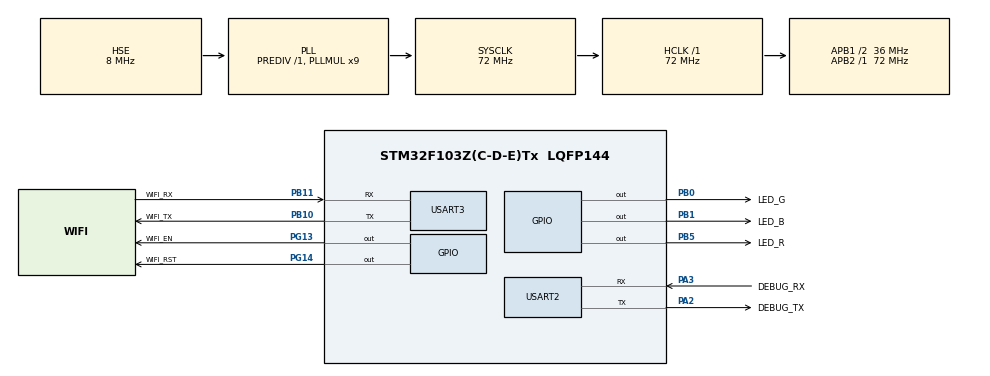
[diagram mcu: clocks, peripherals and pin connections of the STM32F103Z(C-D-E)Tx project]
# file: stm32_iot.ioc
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Dma.Request0=USART2_RX
Dma.Request1=USART2_TX
Dma.Request2=USART3_RX
Dma.Request3=USART3_TX
Dma.USART2_RX.0.Direction=DMA_PERIPH_TO_MEMORY
Dma.USART2_RX.0.Instance=DMA1_Channel6
Dma.USART2_RX.0.MemDataAlignment=DMA_MDATAALIGN_BYTE
Dma.USART2_RX.0.MemInc=DMA_MINC_ENABLE
Dma.USART2_RX.0.Mode=DMA_NORMAL
Dma.USART2_RX.0.PeriphDataAlignment=DMA_PDATAALIGN_BYTE
Dma.USART2_RX.0.PeriphInc=DMA_PINC_DISABLE
Dma.USART2_RX.0.Priority=DMA_PRIORITY_LOW
Dma.USART2_TX.1.Direction=DMA_MEMORY_TO_PERIPH
Dma.USART2_TX.1.Instance=DMA1_Channel7
Dma.USART2_TX.1.MemDataAlignment=DMA_MDATAALIGN_BYTE
Dma.USART2_TX.1.MemInc=DMA_MINC_ENABLE
Dma.USART2_TX.1.Mode=DMA_NORMAL
Dma.USART2_TX.1.PeriphDataAlignment=DMA_PDATAALIGN_BYTE
Dma.USART2_TX.1.PeriphInc=DMA_PINC_DISABLE
Dma.USART2_TX.1.Priority=DMA_PRIORITY_LOW
Dma.USART3_RX.2.Direction=DMA_PERIPH_TO_MEMORY
Dma.USART3_RX.2.Instance=DMA1_Channel3
Dma.USART3_RX.2.MemDataAlignment=DMA_MDATAALIGN_BYTE
Dma.USART3_RX.2.MemInc=DMA_MINC_ENABLE
Dma.USART3_RX.2.Mode=DMA_NORMAL
Dma.USART3_RX.2.PeriphDataAlignment=DMA_PDATAALIGN_BYTE
Dma.USART3_RX.2.PeriphInc=DMA_PINC_DISABLE
Dma.USART3_RX.2.Priority=DMA_PRIORITY_VERY_HIGH
Dma.USART3_TX.3.Direction=DMA_MEMORY_TO_PERIPH
Dma.USART3_TX.3.Instance=DMA1_Channel2
Dma.USART3_TX.3.MemDataAlignment=DMA_MDATAALIGN_BYTE
Dma.USART3_TX.3.MemInc=DMA_MINC_ENABLE
Dma.USART3_TX.3.Mode=DMA_NORMAL
Dma.USART3_TX.3.PeriphDataAlignment=DMA_PDATAALIGN_BYTE
Dma.USART3_TX.3.PeriphInc=DMA_PINC_DISABLE
Dma.USART3_TX.3.Priority=DMA_PRIORITY_LOW
FREERTOS.INCLUDE_eTaskGetState=1
FREERTOS.INCLUDE_pcTaskGetTaskName=1
FREERTOS.INCLUDE_uxTaskGetStackHighWaterMark=1
FREERTOS.INCLUDE_vTaskCleanUpResources=1
FREERTOS.INCLUDE_vTaskDelayUntil=1
FREERTOS.INCLUDE_xEventGroupSetBitFromISR=1
FREERTOS.INCLUDE_xQueueGetMutexHolder=1
FREERTOS.INCLUDE_xSemaphoreGetMutexHolder=1
FREERTOS.INCLUDE_xTaskAbortDelay=1
FREERTOS.INCLUDE_xTaskGetCurrentTaskHandle=1
FREERTOS.INCLUDE_xTaskGetHandle=1
FREERTOS.INCLUDE_xTimerPendFunctionCall=1
FREERTOS.Tasks01=defaultTask,0,128,StartDefaultTask,Default,NULL,Dynamic,NULL,NULL
FREERTOS.configMAX_PRIORITIES=8
FREERTOS.configRECORD_STACK_HIGH_ADDRESS=1
FREERTOS.configTOTAL_HEAP_SIZE=30960
FREERTOS.configUSE_APPLICATION_TASK_TAG=1
FREERTOS.configUSE_COUNTING_SEMAPHORES=1
FREERTOS.configUSE_DAEMON_TASK_STARTUP_HOOK=1
FREERTOS.configUSE_IDLE_HOOK=1
FREERTOS.configUSE_MALLOC_FAILED_HOOK=1
FREERTOS.configUSE_NEWLIB_REENTRANT=0
FREERTOS.configUSE_RECURSIVE_MUTEXES=1
FREERTOS.configUSE_TICKLESS_IDLE=1
FREERTOS.configUSE_TICK_HOOK=1
FREERTOS.configUSE_TIMERS=1
IWDG.Prescaler=IWDG_PRESCALER_256
IWDG.Reload=0xfff
Mcu.Family=STM32F1
Mcu.Name=STM32F103Z(C-D-E)Tx
Mcu.Package=LQFP144
NVIC.DMA1_Channel2_IRQn=true\:6\:0\:true\:false\:true\:true\:false\:true
NVIC.DMA1_Channel3_IRQn=true\:6\:0\:true\:false\:true\:true\:false\:true
NVIC.DMA1_Channel6_IRQn=true\:14\:0\:true\:false\:true\:true\:false\:true
NVIC.DMA1_Channel7_IRQn=true\:14\:0\:true\:false\:true\:true\:false\:true
NVIC.PriorityGroup=NVIC_PRIORITYGROUP_4
NVIC.RCC_IRQn=true\:5\:0\:false\:false\:true\:true\:true\:false
NVIC.RTC_IRQn=true\:14\:0\:true\:false\:true\:true\:true\:true
NVIC.USART2_IRQn=true\:14\:0\:true\:false\:true\:true\:true\:true
NVIC.USART3_IRQn=true\:6\:0\:true\:false\:true\:true\:true\:true
OSC_IN.Mode=HSE-External-Oscillator
OSC_IN.Signal=RCC_OSC_IN
OSC_OUT.Mode=HSE-External-Oscillator
OSC_OUT.Signal=RCC_OSC_OUT
PA13.Mode=Serial_Wire
PA13.Signal=SYS_JTMS-SWDIO
PA14.Mode=Serial_Wire
PA14.Signal=SYS_JTCK-SWCLK
PA2.GPIO_Label=DEBUG_TX
PA2.Mode=Asynchronous
PA2.Signal=USART2_TX
PA3.GPIO_Label=DEBUG_RX
PA3.Mode=Asynchronous
PA3.Signal=USART2_RX
PB0.GPIO_Label=LED_G
PB0.PinState=GPIO_PIN_SET
PB0.Signal=GPIO_Output
PB1.GPIO_Label=LED_B
PB1.PinState=GPIO_PIN_SET
PB1.Signal=GPIO_Output
PB10.GPIO_Label=WIFI_TX
PB10.Mode=Asynchronous
PB10.Signal=USART3_TX
PB11.GPIO_Label=WIFI_RX
PB11.Mode=Asynchronous
PB11.Signal=USART3_RX
PB5.GPIO_Label=LED_R
PB5.PinState=GPIO_PIN_SET
PB5.Signal=GPIO_Output
PC14-OSC32_IN.Mode=LSE-External-Oscillator
PC14-OSC32_IN.Signal=RCC_OSC32_IN
PC15-OSC32_OUT.Mode=LSE-External-Oscillator
PC15-OSC32_OUT.Signal=RCC_OSC32_OUT
PG13.GPIO_Label=WIFI_EN
PG13.Signal=GPIO_Output
PG14.GPIO_Label=WIFI_RST
PG14.PinState=GPIO_PIN_SET
PG14.Signal=GPIO_Output
ProjectManager.HeapSize=0x200
ProjectManager.StackSize=0x400
ProjectManager.TargetToolchain=TrueSTUDIO
RCC.AHBFreq_Value=72000000
RCC.APB1CLKDivider=RCC_HCLK_DIV2
RCC.APB1Freq_Value=36000000
RCC.APB1TimFreq_Value=72000000
RCC.APB2Freq_Value=72000000
RCC.APB2TimFreq_Value=72000000
RCC.EnbaleCSS=true
RCC.HCLKFreq_Value=72000000
RCC.PLLMUL=RCC_PLL_MUL9
RCC.PLLSourceVirtual=RCC_PLLSOURCE_HSE
RCC.RTCClockSelection=RCC_RTCCLKSOURCE_LSE
RCC.SYSCLKFreq_VALUE=72000000
RCC.SYSCLKSource=RCC_SYSCLKSOURCE_PLLCLK
RCC.USBFreq_Value=72000000
RTC.AutoPrediv=RTC_AUTO_1_SECOND
RTC.Date=15
RTC.Format=RTC_FORMAT_BCD
RTC.Hours=15
RTC.Minutes=25
RTC.Month=RTC_MONTH_MAY
RTC.OutPut=RTC_OUTPUTSOURCE_NONE
RTC.WeekDay=RTC_WEEKDAY_FRIDAY
RTC.Year=20
USART2.VirtualMode=VM_ASYNC
USART3.VirtualMode=VM_ASYNC
VP_FREERTOS_VS_CMSIS_V1.Mode=CMSIS_V1
VP_IWDG_VS_IWDG.Mode=IWDG_Activate
VP_RTC_No_RTC_Output.Mode=RTC_OUT_NO
VP_RTC_VS_RTC_Activate.Mode=RTC_Enabled
VP_RTC_VS_RTC_Calendar.Mode=RTC_Calendar
board=custom

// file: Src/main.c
/* USER CODE BEGIN Header */
/**
  ******************************************************************************
  * @file           : main.c
  * @brief          : Main program body
  ******************************************************************************
  * @attention
  *
  * <h2><center>&copy; Copyright (c) 2020 STMicroelectronics.
  * All rights reserved.</center></h2>
  *
  * This software component is licensed by ST under Ultimate Liberty license
  * SLA0044, the "License"; You may not use this file except in compliance with
  * the License. You may obtain a copy of the License at:
  *                             www.st.com/SLA0044
  *
  ******************************************************************************
  */
/* USER CODE END Header */

#include "main.h"
#include "cmsis_os.h"
#include "dma.h"
#include "iwdg.h"
#include "rtc.h"
#include "usart.h"
#include "gpio.h"

/* USER CODE BEGIN Includes */
#include "stdio.h"
/* USER CODE END Includes */

void SystemClock_Config(void);
void MX_FREERTOS_Init(void);

int main(void)
{

  /* MCU Configuration--------------------------------------------------------*/

  /* Reset of all peripherals, Initializes the Flash interface and the Systick. */
  HAL_Init();

  /* Configure the system clock */
  SystemClock_Config();

  /* Initialize all configured peripherals */
  MX_GPIO_Init();
  MX_DMA_Init();
  MX_USART2_UART_Init();
  MX_USART3_UART_Init();
  MX_IWDG_Init();
  MX_RTC_Init();
  /* USER CODE BEGIN 2 */
	printf("init the hardware complete\n");
  /* USER CODE END 2 */

  /* Call init function for freertos objects (in freertos.c) */
  MX_FREERTOS_Init();
  /* Start scheduler */
  osKernelStart();

  /* We should never get here as control is now taken by the scheduler */
  /* Infinite loop */
  while (1)
  {

  }
}

void SystemClock_Config(void)
{
  RCC_OscInitTypeDef RCC_OscInitStruct = {0};
  RCC_ClkInitTypeDef RCC_ClkInitStruct = {0};
  RCC_PeriphCLKInitTypeDef PeriphClkInit = {0};

  /** Initializes the CPU, AHB and APB busses clocks
  */
  RCC_OscInitStruct.OscillatorType = RCC_OSCILLATORTYPE_LSI|RCC_OSCILLATORTYPE_HSE
                              |RCC_OSCILLATORTYPE_LSE;
  RCC_OscInitStruct.HSEState = RCC_HSE_ON;
  RCC_OscInitStruct.HSEPredivValue = RCC_HSE_PREDIV_DIV1;
  RCC_OscInitStruct.LSEState = RCC_LSE_ON;
  RCC_OscInitStruct.HSIState = RCC_HSI_ON;
  RCC_OscInitStruct.LSIState = RCC_LSI_ON;
  RCC_OscInitStruct.PLL.PLLState = RCC_PLL_ON;
  RCC_OscInitStruct.PLL.PLLSource = RCC_PLLSOURCE_HSE;
  RCC_OscInitStruct.PLL.PLLMUL = RCC_PLL_MUL9;
  if (HAL_RCC_OscConfig(&RCC_OscInitStruct) != HAL_OK)
  {
    Error_Handler();
  }
  /** Initializes the CPU, AHB and APB busses clocks
  */
  RCC_ClkInitStruct.ClockType = RCC_CLOCKTYPE_HCLK|RCC_CLOCKTYPE_SYSCLK
                              |RCC_CLOCKTYPE_PCLK1|RCC_CLOCKTYPE_PCLK2;
  RCC_ClkInitStruct.SYSCLKSource = RCC_SYSCLKSOURCE_PLLCLK;
  RCC_ClkInitStruct.AHBCLKDivider = RCC_SYSCLK_DIV1;
  RCC_ClkInitStruct.APB1CLKDivider = RCC_HCLK_DIV2;
  RCC_ClkInitStruct.APB2CLKDivider = RCC_HCLK_DIV1;

  if (HAL_RCC_ClockConfig(&RCC_ClkInitStruct, FLASH_LATENCY_2) != HAL_OK)
  {
    Error_Handler();
  }
  PeriphClkInit.PeriphClockSelection = RCC_PERIPHCLK_RTC;
  PeriphClkInit.RTCClockSelection = RCC_RTCCLKSOURCE_LSE;
  if (HAL_RCCEx_PeriphCLKConfig(&PeriphClkInit) != HAL_OK)
  {
    Error_Handler();
  }
  /** Enables the Clock Security System
  */
  HAL_RCC_EnableCSS();
}

void Error_Handler(void)
{
}

/************************ (C) COPYRIGHT STMicroelectronics *****END OF FILE****/

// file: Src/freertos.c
/* USER CODE BEGIN Header */
/**
 ******************************************************************************
 * File Name          : freertos.c
 * Description        : Code for freertos applications
 ******************************************************************************
 * @attention
 *
 * <h2><center>&copy; Copyright (c) 2020 STMicroelectronics.
 * All rights reserved.</center></h2>
 *
 * This software component is licensed by ST under Ultimate Liberty license
 * SLA0044, the "License"; You may not use this file except in compliance with
 * the License. You may obtain a copy of the License at:
 *                             www.st.com/SLA0044
 *
 ******************************************************************************
 */
/* USER CODE END Header */

#include "FreeRTOS.h"
#include "task.h"
#include "main.h"
#include "cmsis_os.h"

/* USER CODE BEGIN Includes */
#include "usart.h"
#include "user_app.h"
#include "Debug.h"
#include "system.h"
#include "iwdg.h"
#include "rtc.h"
/* USER CODE END Includes */

/* USER CODE BEGIN PTD */
EventGroupHandle_t debugEventHandler = NULL;
/* USER CODE END PTD */

osThreadId defaultTaskHandle;

void StartDefaultTask(void const * argument);

void MX_FREERTOS_Init(void); /* (MISRA C 2004 rule 8.1) */

/* Pre/Post sleep processing prototypes */
void PreSleepProcessing(uint32_t *ulExpectedIdleTime);
void PostSleepProcessing(uint32_t *ulExpectedIdleTime);

/* GetIdleTaskMemory prototype (linked to static allocation support) */
void vApplicationGetIdleTaskMemory( StaticTask_t **ppxIdleTaskTCBBuffer, StackType_t **ppxIdleTaskStackBuffer, uint32_t *pulIdleTaskStackSize );

/* GetTimerTaskMemory prototype (linked to static allocation support) */
void vApplicationGetTimerTaskMemory( StaticTask_t **ppxTimerTaskTCBBuffer, StackType_t **ppxTimerTaskStackBuffer, uint32_t *pulTimerTaskStackSize );

/* Hook prototypes */
void vApplicationIdleHook(void);
void vApplicationTickHook(void);
void vApplicationMallocFailedHook(void);
void vApplicationDaemonTaskStartupHook(void);

/* USER CODE BEGIN 2 */
__weak void vApplicationIdleHook(void)
{
	/* vApplicationIdleHook() will only be called if configUSE_IDLE_HOOK is set
	 to 1 in FreeRTOSConfig.h. It will be called on each iteration of the idle
	 task. It is essential that code added to this hook function never attempts
	 to block in any way (for example, call xQueueReceive() with a block time
	 specified, or call vTaskDelay()). If the application makes use of the
	 vTaskDelete() API function (as this demo application does) then it is also
	 important that vApplicationIdleHook() is permitted to return to its calling
	 function, because it is the responsibility of the idle task to clean up
	 memory allocated by the kernel to any task that has since been deleted. */
}
/* USER CODE END 2 */

/* USER CODE BEGIN 3 */
__weak void vApplicationTickHook(void)
{
	/* This function will be called by each tick interrupt if
	 configUSE_TICK_HOOK is set to 1 in FreeRTOSConfig.h. User code can be
	 added here, but the tick hook is called from an interrupt context, so
	 code must not attempt to block, and only the interrupt safe FreeRTOS API
	 functions can be used (those that end in FromISR()). */
}
/* USER CODE END 3 */

/* USER CODE BEGIN 5 */
__weak void vApplicationMallocFailedHook(void)
{
	/* vApplicationMallocFailedHook() will only be called if
	 configUSE_MALLOC_FAILED_HOOK is set to 1 in FreeRTOSConfig.h. It is a hook
	 function that will get called if a call to pvPortMalloc() fails.
	 pvPortMalloc() is called internally by the kernel whenever a task, queue,
	 timer or semaphore is created. It is also called by various parts of the
	 demo application. If heap_1.c or heap_2.c are used, then the size of the
	 heap available to pvPortMalloc() is defined by configTOTAL_HEAP_SIZE in
	 FreeRTOSConfig.h, and the xPortGetFreeHeapSize() API function can be used
	 to query the size of free heap space that remains (although it does not
	 provide information on how the remaining heap might be fragmented). */
}
/* USER CODE END 5 */

/* USER CODE BEGIN DAEMON_TASK_STARTUP_HOOK */
void vApplicationDaemonTaskStartupHook(void)
{
}
/* USER CODE END DAEMON_TASK_STARTUP_HOOK */

/* USER CODE BEGIN PREPOSTSLEEP */
__weak void PreSleepProcessing(uint32_t *ulExpectedIdleTime)
{
	/* place for user code */
}

__weak void PostSleepProcessing(uint32_t *ulExpectedIdleTime)
{
	/* place for user code */
}
/* USER CODE END PREPOSTSLEEP */

/* USER CODE BEGIN GET_IDLE_TASK_MEMORY */
static StaticTask_t xIdleTaskTCBBuffer;
static StackType_t xIdleStack[configMINIMAL_STACK_SIZE];

void vApplicationGetIdleTaskMemory(StaticTask_t **ppxIdleTaskTCBBuffer, StackType_t **ppxIdleTaskStackBuffer,
		uint32_t *pulIdleTaskStackSize)
{
	*ppxIdleTaskTCBBuffer = &xIdleTaskTCBBuffer;
	*ppxIdleTaskStackBuffer = &xIdleStack[0];
	*pulIdleTaskStackSize = configMINIMAL_STACK_SIZE;
	/* place for user code */
}
/* USER CODE END GET_IDLE_TASK_MEMORY */

/* USER CODE BEGIN GET_TIMER_TASK_MEMORY */
static StaticTask_t xTimerTaskTCBBuffer;
static StackType_t xTimerStack[configTIMER_TASK_STACK_DEPTH];

void vApplicationGetTimerTaskMemory(StaticTask_t **ppxTimerTaskTCBBuffer, StackType_t **ppxTimerTaskStackBuffer,
		uint32_t *pulTimerTaskStackSize)
{
	*ppxTimerTaskTCBBuffer = &xTimerTaskTCBBuffer;
	*ppxTimerTaskStackBuffer = &xTimerStack[0];
	*pulTimerTaskStackSize = configTIMER_TASK_STACK_DEPTH;
	/* place for user code */
}
/* USER CODE END GET_TIMER_TASK_MEMORY */

void MX_FREERTOS_Init(void) {
  /* USER CODE BEGIN Init */

	debugEventHandler = xEventGroupCreate();
	xEventGroupSetBits(debugEventHandler, EVENTBIT_DEBUG_UART_TC);

	//don't delete this part, or you maybe meet ghost
	//reason is the sprintf need this for cJSON,
	unsigned char number_buffer[26];
	double d = 25.1;
	sprintf((char*) number_buffer, "%1.15g", d);
	printf("do not delete this log, or you maybe meet ghost: %s\n", number_buffer);
  /* USER CODE END Init */

  /* Create the thread(s) */
  /* definition and creation of defaultTask */
  osThreadDef(defaultTask, StartDefaultTask, osPriorityNormal, 0, 128);
  defaultTaskHandle = osThreadCreate(osThread(defaultTask), NULL);

  /* USER CODE BEGIN RTOS_THREADS */
	/* add threads, ... */
	app_os_var_init();
	app_task_init();

  /* USER CODE END RTOS_THREADS */

}

void StartDefaultTask(void const * argument)
{
  /* USER CODE BEGIN StartDefaultTask */
	/* Infinite loop */
	while (1)
	{
		feedDog();
		Debug("feed Dog\n");
		getRealTime();
		osDelay(20000);
	}

  /* USER CODE END StartDefaultTask */
}

/************************ (C) COPYRIGHT STMicroelectronics *****END OF FILE****/
